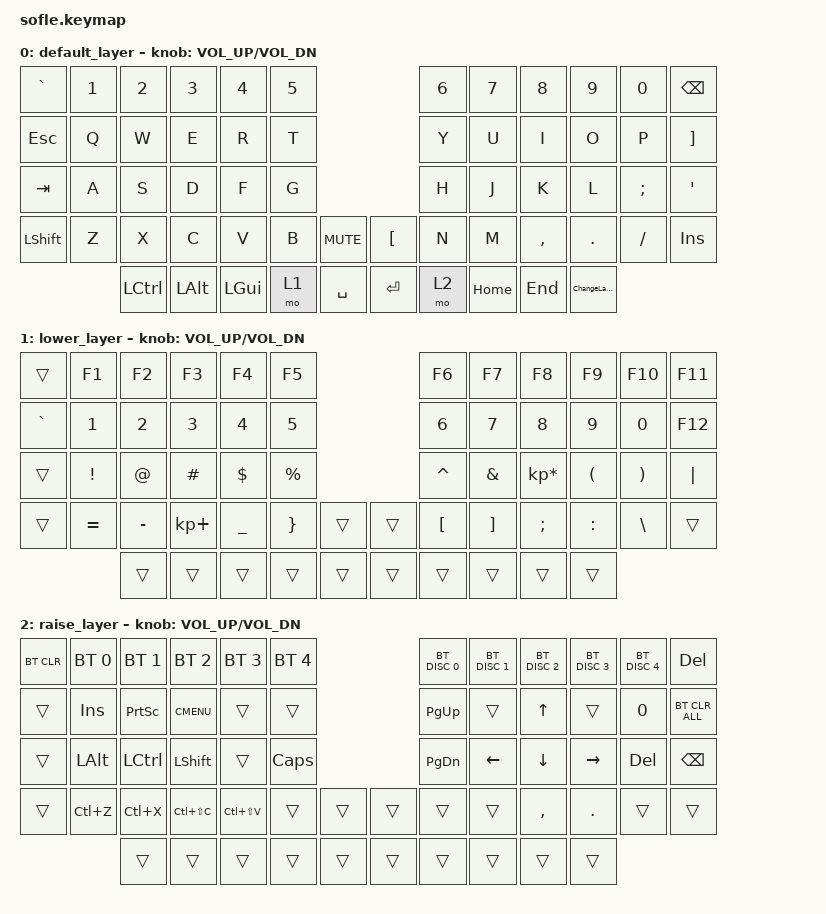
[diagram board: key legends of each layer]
/*
 * Copyright (c) 2020 The ZMK Contributors
 *
 * SPDX-License-Identifier: MIT
 */

#include <behaviors.dtsi>
#include <dt-bindings/zmk/bt.h>
#include <dt-bindings/zmk/keys.h>
#include <dt-bindings/zmk/keys.h>

/ {
    combos { compatible = "zmk,combos"; };

    macros {
        ChangeLanguage: ChangeLanguage {
            compatible = "zmk,behavior-macro";
            #binding-cells = <0>;
            bindings = <&kt LEFT_WIN &kp SPACE &kt LEFT_WIN>;
            label = "CHANGELANGUAGE";
        };
    };

    keymap {
        compatible = "zmk,keymap";

        default_layer {
            // ------------------------------------------------------------------------------------------------------------
            // |  `    |  1  |  2  |  3   |  4   |  5   |                         |  6   |  7    |  8    |  9   |   0   |       |
            // |  ESC  |  Q  |  W  |  E   |  R   |  T   |                         |  Y   |  U    |  I    |  O   |   P   | BKSPC |
            // |  TAB  |  A  |  S  |  D   |  F   |  G   |                         |  H   |  J    |  K    |  L   |   ;   |   '   |
            // | SHIFT |  Z  |  X  |  C   |  V   |  B   |  MUTE  |        | ExtPw |  N   |  M    |  ,    |  .   |   /   | SHIFT |
            //               | GUI | ALT  | CTRL | LOWER|  ENTER |        | SPACE | RAISE| CTRL  | ALT   | GUI  |

            bindings = <
&kp GRAVE   &kp N1  &kp N2     &kp N3    &kp N4    &kp N5                                  &kp N6  &kp N7    &kp N8     &kp N9           &kp N0    &kp BACKSPACE
&kp ESCAPE  &kp Q   &kp W      &kp E     &kp R     &kp T                                   &kp Y   &kp U     &kp I      &kp O            &kp P     &kp RIGHT_BRACKET
&kp TAB     &kp A   &kp S      &kp D     &kp F     &kp G                                   &kp H   &kp J     &kp K      &kp L            &kp SEMI  &kp SQT
&kp LSHFT   &kp Z   &kp X      &kp C     &kp V     &kp B   &kp C_MUTE    &kp LEFT_BRACKET  &kp N   &kp M     &kp COMMA  &kp DOT          &kp FSLH  &kp INSERT
                    &kp LCTRL  &kp LALT  &kp LGUI  &mo 1   &kp SPACE     &kp ENTER         &mo 2   &kp HOME  &kp END    &ChangeLanguage
            >;

            sensor-bindings = <&inc_dec_kp C_VOL_UP C_VOL_DN>;
        };

        lower_layer {
            // TODO: Some binds are waiting for shifted keycode support.
            // ------------------------------------------------------------------------------------------------------------
            // |       |  F1 |  F2 |  F3  |  F4  |  F5  |                   |  F6  |  F7   |  F8   |  F9  |  F10  |  F11  |
            // | `     |   1 |   2 |   3  |   4  |   5  |                   |   6  |   7   |   8   |   9  |    0  |  F12  |
            // |       |  !  |  @  |  #   |  $   |  %   |                   |  ^   |  &    |  *    |  (   |   )   |   |   |
            // |       |  =  |  -  |  +   |  {   |  }   |        |  |       |  [   |  ]    |  ;    |  :   |   \   |       |
            //               |     |      |      |      |        |  |       |      |       |       |      |

            bindings = <
&trans     &kp F1     &kp F2     &kp F3       &kp F4          &kp F5                       &kp F6     &kp F7    &kp F8           &kp F9     &kp F10   &kp F11
&kp GRAVE  &kp N1     &kp N2     &kp N3       &kp N4          &kp N5                       &kp N6     &kp N7    &kp N8           &kp N9     &kp N0    &kp F12
&trans     &kp EXCL   &kp AT     &kp HASH     &kp DLLR        &kp PRCNT                    &kp CARET  &kp AMPS  &kp KP_MULTIPLY  &kp LPAR   &kp RPAR  &kp PIPE
&trans     &kp EQUAL  &kp MINUS  &kp KP_PLUS  &kp UNDERSCORE  &kp RBRC   &trans    &trans  &kp LBKT   &kp RBKT  &kp SEMI         &kp COLON  &kp BSLH  &trans
                      &trans     &trans       &trans          &trans     &trans    &trans  &trans     &trans    &trans           &trans
            >;

            sensor-bindings = <&inc_dec_kp C_VOL_UP C_VOL_DN>;
        };

        raise_layer {
            // ------------------------------------------------------------------------------------------------------------
            // |BTCLR| BT1  | BT2  |  BT3  |  BT4  |  BT5 |                |      |      |       |      |       |       |
            // |     | INS  | PSCR | GUI   |       |      |                | PGUP |      |   ^   |      |       |       |
            // |     | ALT  | CTRL | SHIFT |       | CAPS |                | PGDN |   <- |   v   |  ->  |  DEL  | BKSPC |
            // |     | UNDO | CUT  | COPY  | PASTE |      |      |  |      |      |      |       |      |       |       |
            //              |      |       |       |      |      |  |      |      |      |       |      |

            bindings = <
&bt BT_CLR  &bt BT_SEL 0  &bt BT_SEL 1  &bt BT_SEL 2   &bt BT_SEL 3   &bt BT_SEL 4                    &bt BT_DISC 0  &bt BT_DISC 1  &bt BT_DISC 2  &bt BT_DISC 3  &bt BT_DISC 4  &kp DELETE
&trans      &kp INS       &kp PSCRN     &kp K_CMENU    &trans         &trans                          &kp PG_UP      &trans         &kp UP         &trans         &kp N0         &bt BT_CLR_ALL
&trans      &kp LALT      &kp LCTRL     &kp LSHFT      &trans         &kp CLCK                        &kp PG_DN      &kp LEFT       &kp DOWN       &kp RIGHT      &kp DEL        &kp BSPC
&trans      &kp LC(Z)     &kp LC(X)     &kp LC(LS(C))  &kp LC(LS(V))  &trans        &trans    &trans  &trans         &trans         &kp COMMA      &kp PERIOD     &trans         &trans
                          &trans        &trans         &trans         &trans        &trans    &trans  &trans         &trans         &trans         &trans
            >;

            sensor-bindings = <&inc_dec_kp C_VOL_UP C_VOL_DN>;
        };
    };
};
